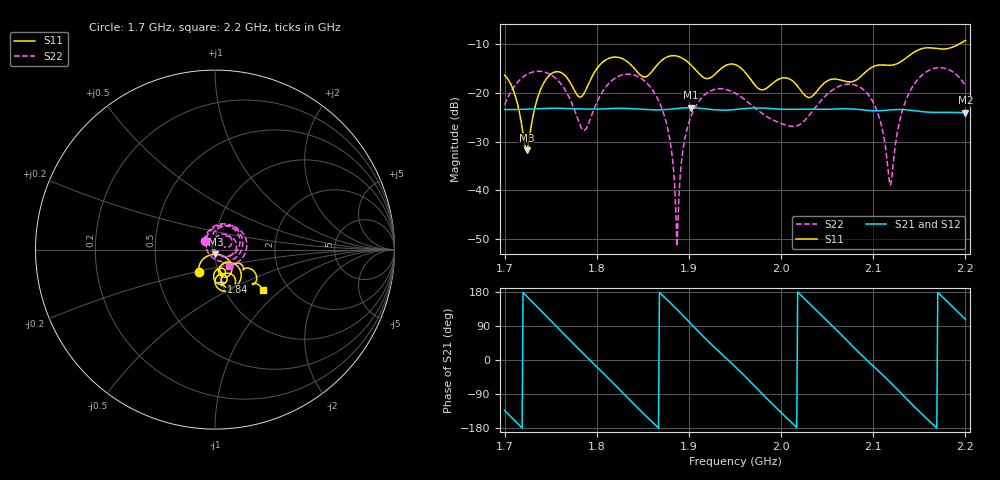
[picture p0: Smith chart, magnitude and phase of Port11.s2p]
# Hz S RI R 50
! CMT, CMT808U, 21440046, 21.4.3/4
! Date: 12/13/2025 10:52:57 PM
! Data: Format (Calibration Info)
! Freq	S11:Re/Im(F2)	S41:Re/Im(F2)	S14:Re/Im(F2)	S44:Re/Im(F2)
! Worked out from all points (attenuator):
!   501 points, 1.7 GHz to 2.2 GHz, reference 50 ohm
!   highest |S21| = -23.03 dB at 1.902 GHz (marker M1); lowest = -24.0 dB at 2.2 GHz (marker M2)
!   lowest |S11| = -31.8 dB at 1.724 GHz (marker M3), VSWR 1.05, Z = 50.2 - j2.57 ohm
!   |S11| at or under -10 dB: start of sweep to 2.193 GHz
!   |S22| runs from -51.5 to -14.8 dB; largest |S21 - S12| = 0.00038
!   S11 on the Smith chart (normalised r, x): 1.7 GHz: 0.81, -0.21; 1.84 GHz: 1.00, -0.37; 2.2 GHz: 1.49, -0.75
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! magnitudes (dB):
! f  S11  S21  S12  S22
! 1.7 GHz  -16.3  -23.4  -23.4  -22.4
! 1.724 GHz  -31.8  -23.3  -23.4  -16.2
! 1.749 GHz  -16.3  -23.1  -23.2  -16.1
! 1.784 GHz  -20.7  -23.3  -23.3  -27.4
! 1.811 GHz  -13.1  -23.2  -23.3  -18.5
! 1.84 GHz  -14.8  -23.3  -23.3  -16.3
! 1.867 GHz  -14.0  -23.5  -23.5  -21.5
! 1.88 GHz  -12.4  -23.3  -23.3  -30.4
! 1.887 GHz  -12.4  -23.2  -23.2  -51.5
! 1.894 GHz  -13.0  -23.1  -23.1  -31.1
! 1.902 GHz  -14.2  -23.0  -23.1  -24.9
! 1.922 GHz  -17.0  -23.3  -23.4  -19.7
! 1.95 GHz  -14.2  -23.4  -23.4  -20.0
! 1.978 GHz  -19.3  -23.1  -23.1  -24.0
! 2.008 GHz  -17.0  -23.4  -23.4  -26.8
! 2.034 GHz  -20.6  -23.3  -23.3  -23.8
! 2.089 GHz  -16.2  -23.5  -23.5  -19.3
! 2.107 GHz  -14.3  -23.7  -23.7  -25.4
! 2.117 GHz  -14.3  -23.5  -23.5  -37.4
! 2.132 GHz  -13.3  -23.4  -23.4  -23.4
! 2.148 GHz  -11.2  -23.7  -23.7  -17.3
! 2.2 GHz  -9.2  -24.0  -24.0  -18.5
